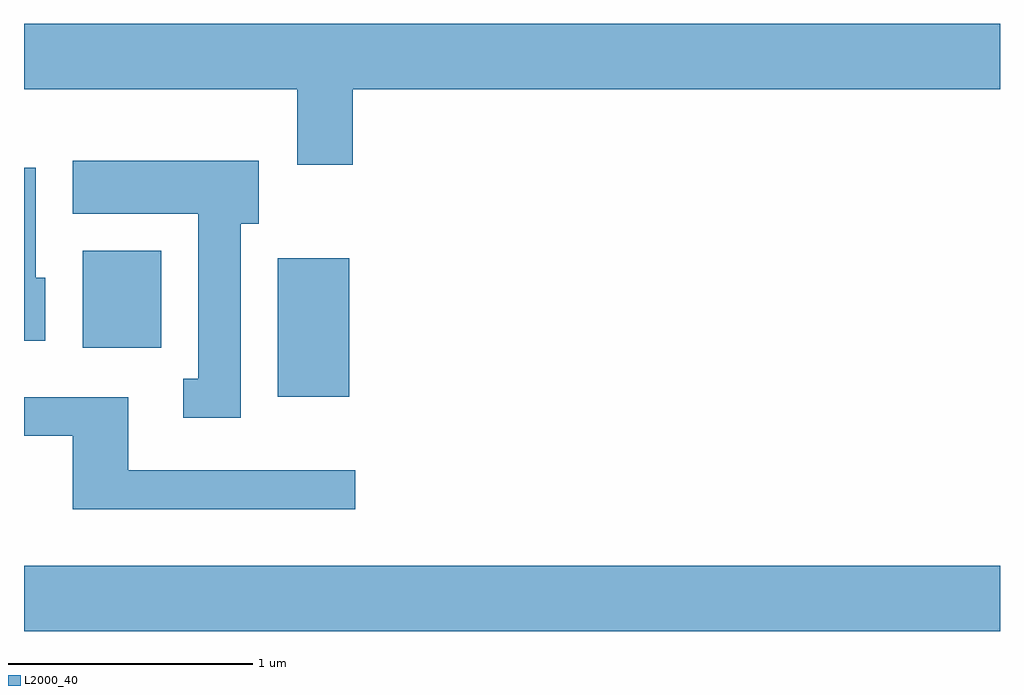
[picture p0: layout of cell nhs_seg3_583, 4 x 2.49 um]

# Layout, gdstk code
import gdstk
lib = gdstk.Library(unit=1e-6, precision=1e-09)
def R(c, l, rs):  # rectangles x0, y0, x1, y1
    for r in rs: c.add(gdstk.rectangle(r[:2], r[2:], *l))
def P(c, l, *ps):  # polygons
    for p in ps: c.add(gdstk.Polygon(p, *l))
L2000_40 = (2000, 40)

nhs_seg3_583 = lib.new_cell('nhs_seg3_583')
R(nhs_seg3_583, L2000_40, [(201.611,1194.836,205.611,1195.104), (202.651,1195.796,202.944,1196.364), (201.851,1195.996,202.174,1196.394)])
P(nhs_seg3_583, L2000_40, [(202.959,1197.056),(205.611,1197.056),(205.611,1197.324),(201.611,1197.324),(201.611,1197.056),(202.731,1197.056),(202.731,1196.746),(202.959,1196.746)],
  [(202.499,1196.506),(202.574,1196.506),(202.574,1196.764),(201.811,1196.764),(201.811,1196.546),(202.326,1196.546),(202.326,1195.869),(202.263,1195.869),(202.263,1195.711),(202.499,1195.711)],
  [(201.699,1196.284),(201.659,1196.284),(201.659,1196.734),(201.611,1196.734),(201.611,1196.026),(201.699,1196.026)],
  [(202.968,1195.494),(202.039,1195.494),(202.039,1195.794),(201.611,1195.794),(201.611,1195.636),(201.811,1195.636),(201.811,1195.336),(202.968,1195.336)])

lib.write_gds('nhs_seg3_583.gds')
